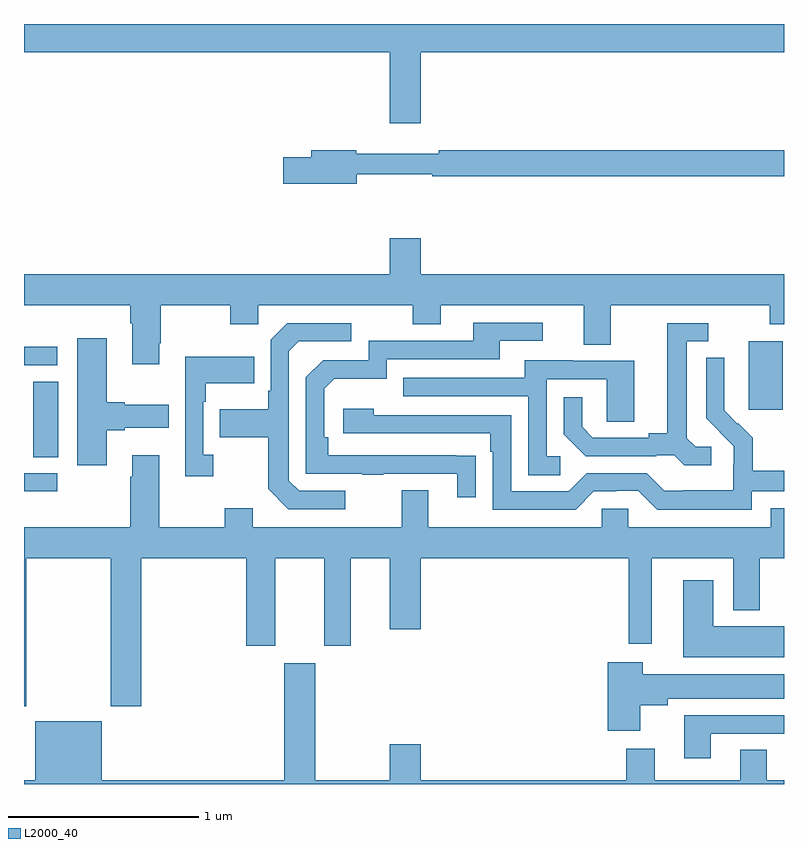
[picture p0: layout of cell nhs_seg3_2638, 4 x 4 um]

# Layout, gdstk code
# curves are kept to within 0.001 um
import gdstk
lib = gdstk.Library(unit=1e-6, precision=1e-09)
def R(c, l, rs):  # rectangles x0, y0, x1, y1
    for r in rs: c.add(gdstk.rectangle(r[:2], r[2:], *l))
def P(c, l, *ps):  # polygons
    for p in ps: c.add(gdstk.Polygon(p, *l))
L2000_40 = (2000, 40)

nhs_seg3_2638 = lib.new_cell('nhs_seg3_2638')
R(nhs_seg3_2638, L2000_40, [(247,695.94,247.174,696.036), (247.049,696.121,247.18,696.518), (250.814,696.369,250.993,696.73), (247,696.603,247.174,696.702)])
P(nhs_seg3_2638, L2000_40, [(249.088,698.252),(251,698.252),(251,698.4),(247,698.4),(247,698.252),(248.924,698.252),(248.924,697.878),(249.088,697.878)],
  [(248.752,697.608),(249.148,697.608),(249.148,697.6),(251,697.6),(251,697.736),(249.184,697.736),(249.184,697.717),(248.748,697.717),(248.748,697.736),(248.513,697.736),(248.513,697.7),(248.364,697.7),(248.364,697.558),(248.752,697.558)],
  [(247.711,696.721),(247.719,696.721),(247.719,696.92),(248.086,696.92),(248.086,696.821),(248.232,696.821),(248.232,696.92),(249.046,696.92),(249.046,696.821),(249.193,696.821),(249.193,696.92),(249.947,696.92),(249.947,696.712),(250.087,696.712),(250.087,696.92),(250.924,696.92),(250.924,696.821),(251,696.821),(251,697.084),(249.088,697.084),(249.088,697.273),(248.924,697.273),(248.924,697.084),(247,697.084),(247,696.92),(247.559,696.92),(247.559,696.824),(247.571,696.824),(247.571,696.609),(247.711,696.609)],
  [(249.377,696.128),(248.6,696.129),(248.6,696.226),(248.58,696.226),(248.58,696.48),(248.633,696.533),(248.91,696.533),(248.91,696.636),(249.505,696.636),(249.505,696.732),(249.73,696.732),(249.73,696.828),(249.365,696.828),(249.365,696.732),(248.814,696.732),(248.814,696.63),(248.574,696.63),(248.484,696.54),(248.484,696.033),(248.779,696.033),(248.779,696.028),(248.891,696.028),(248.891,696.033),(249.281,696.033),(249.281,695.91),(249.377,695.91)],
  [(248.692,695.943),(248.448,695.943),(248.394,695.997),(248.394,696.678),(248.445,696.729),(248.722,696.729),(248.722,696.825),(248.385,696.825),(248.298,696.738),(248.298,696.469),(248.286,696.469),(248.286,696.373),(248.029,696.373),(248.029,696.226),(248.286,696.226),(248.286,695.953),(248.391,695.847),(248.692,695.847)],
  [(250.618,696.174),(250.536,696.174),(250.489,696.221),(250.489,696.729),(250.6,696.729),(250.6,696.825),(250.385,696.825),(250.385,696.245),(250.289,696.245),(250.289,696.222),(249.994,696.222),(249.937,696.279),(249.937,696.436),(249.84,696.436),(249.84,696.242),(249.956,696.126),(250.328,696.126),(250.328,696.129),(250.422,696.129),(250.474,696.077),(250.618,696.077)],
  [(247.435,696.263),(247.531,696.263),(247.531,696.275),(247.762,696.275),(247.762,696.397),(247.531,696.397),(247.531,696.41),(247.435,696.41),(247.435,696.745),(247.28,696.745),(247.28,696.078),(247.435,696.078)],
  [(247.996,696.134),(247.944,696.134),(247.944,696.413),(247.957,696.413),(247.957,696.509),(248.213,696.509),(248.213,696.649),(247.848,696.649),(247.848,696.021),(247.996,696.021)],
  [(250.83,695.94),(251,695.94),(251,696.049),(250.835,696.049),(250.835,696.223),(250.758,696.3),(250.755,696.297),(250.685,696.368),(250.686,696.644),(250.59,696.644),(250.59,696.326),(250.736,696.178),(250.736,696.081),(250.734,696.081),(250.734,695.947),(250.471,695.947),(250.471,695.943),(250.371,695.943),(250.278,696.036),(249.963,696.036),(249.867,695.94),(249.564,695.94),(249.564,696.342),(248.84,696.342),(248.84,696.376),(248.679,696.376),(248.679,696.246),(249.455,696.246),(249.455,696.149),(249.468,696.149),(249.468,695.844),(249.903,695.844),(249.999,695.94),(250.118,695.94),(250.118,695.943),(250.233,695.943),(250.333,695.843),(250.83,695.843)],
  [(249.823,696.126),(249.75,696.126),(249.75,696.531),(250.068,696.531),(250.068,696.307),(250.213,696.307),(250.213,696.627),(249.889,696.627),(249.889,696.631),(249.635,696.631),(249.635,696.537),(248.995,696.537),(248.995,696.441),(249.654,696.441),(249.654,696.025),(249.823,696.025)],
  [(247.011,695.588),(247.456,695.588),(247.456,694.809),(247.616,694.809),(247.616,695.588),(248.171,695.588),(248.171,695.127),(248.323,695.127),(248.323,695.588),(248.579,695.588),(248.579,695.127),(248.719,695.127),(248.719,695.588),(248.924,695.588),(248.924,695.214),(249.088,695.214),(249.088,695.588),(250.182,695.588),(250.182,695.139),(250.303,695.139),(250.303,695.588),(250.733,695.588),(250.733,695.315),(250.873,695.315),(250.873,695.588),(251,695.588),(251,695.851),(250.931,695.851),(250.931,695.752),(250.179,695.752),(250.179,695.85),(250.041,695.85),(250.041,695.752),(249.127,695.752),(249.127,695.947),(248.987,695.947),(248.987,695.752),(248.203,695.752),(248.203,695.851),(248.056,695.851),(248.056,695.752),(247.711,695.752),(247.711,696.13),(247.571,696.13),(247.571,696.017),(247.559,696.017),(247.559,695.752),(247,695.752),(247,694.809),(247.011,694.809)],
  [(251,695.23),(250.627,695.23),(250.627,695.473),(250.469,695.473),(250.469,695.066),(251,695.066)],
  [(250.243,694.814),(250.387,694.814),(250.387,694.85),(251,694.85),(251,694.978),(250.256,694.978),(250.256,695.041),(250.073,695.041),(250.073,694.68),(250.243,694.68)],
  [(251,694.42),(250.909,694.42),(250.909,694.58),(250.769,694.58),(250.769,694.42),(250.321,694.42),(250.321,694.585),(250.169,694.585),(250.169,694.42),(249.088,694.42),(249.088,694.609),(248.924,694.609),(248.924,694.42),(248.533,694.42),(248.533,695.035),(248.369,695.035),(248.369,694.42),(247.408,694.42),(247.408,694.729),(247.058,694.729),(247.058,694.42),(247,694.42),(247,694.4),(251,694.4)],
  [(250.615,694.665),(251,694.665),(251,694.761),(250.475,694.761),(250.475,694.536),(250.615,694.536)])

lib.write_gds('nhs_seg3_2638.gds')
